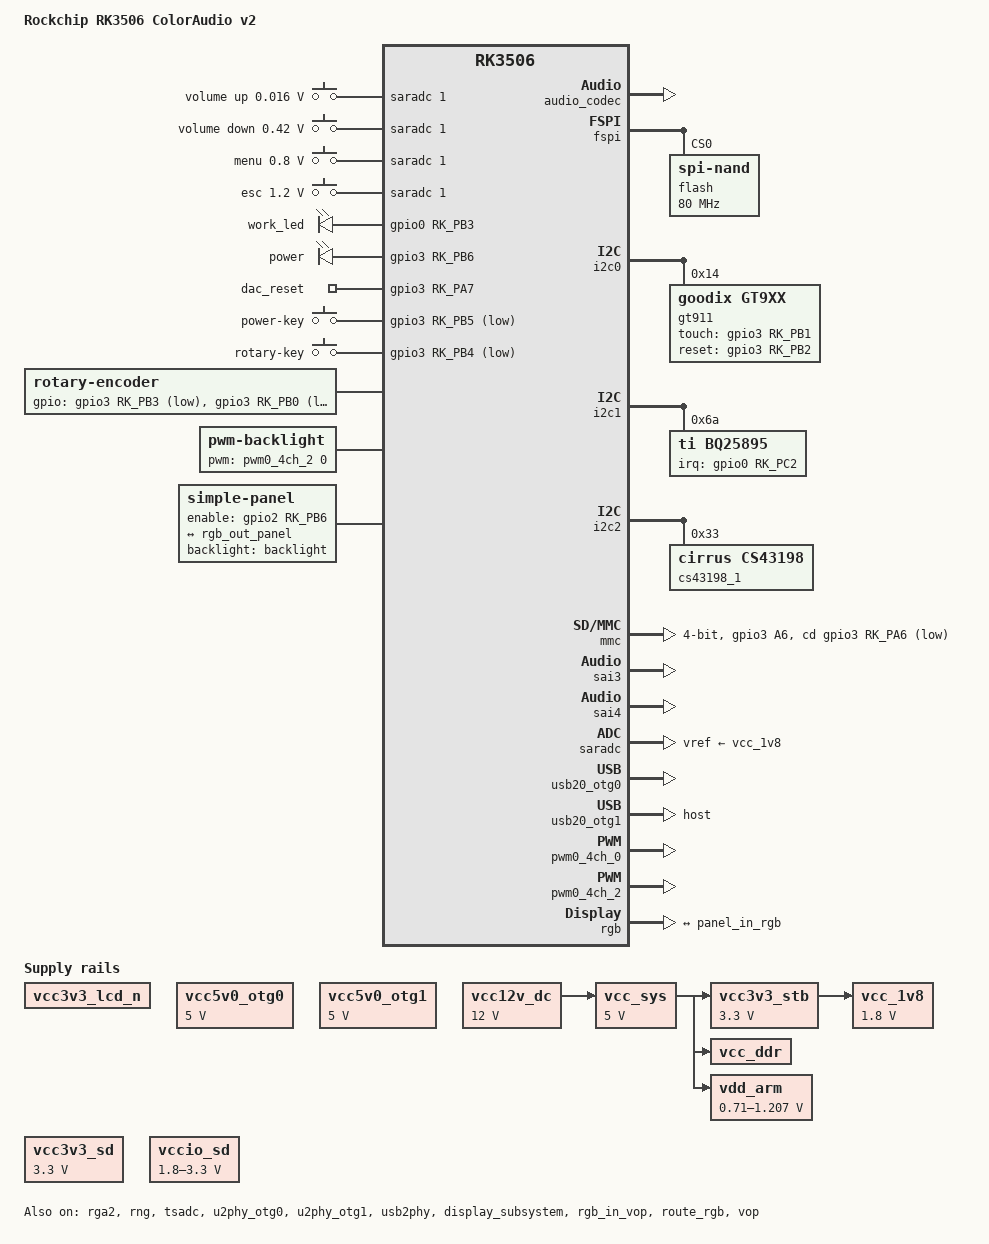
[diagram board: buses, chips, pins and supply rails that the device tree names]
// SPDX-License-Identifier: (GPL-2.0+ OR MIT)
/*
 * Copyright (c) 2024 Rockchip Electronics Co., Ltd.
 */
/dts-v1/;
#include <dt-bindings/display/drm_mipi_dsi.h>
#include <dt-bindings/input/rk-input.h>
#include <dt-bindings/suspend/rockchip-rk3506.h>
#include <dt-bindings/display/media-bus-format.h>
#include "rk3506.dtsi"

/ {	
	model = "Rockchip RK3506 ColorAudio v2";
	compatible = "rockchip,coloraudio-v2", "rockchip,rk3506";

	chosen {
		bootargs = "earlycon=uart8250,mmio32,0xff0a0000 loglevel=8 console=ttyFIQ0 ubi.mtd=5 root=ubi0:rootfs rw rootfstype=ubifs rootwait snd_aloop.index=7 snd_aloop.use_raw_jiffies=1";
	};
	
	vcc3v3_lcd_n: vcc3v3-lcd0-n {
		compatible = "regulator-fixed";
		enable-active-high;
		regulator-name = "vcc3v3_lcd_n";
		regulator-boot-on;
		regulator-state-mem {
			regulator-off-in-suspend;
		};
    };
	
	vcc5v0_otg0: vcc5v0-otg0-regulator {
		compatible = "regulator-fixed";
		regulator-name = "vcc5v0_otg0";
		regulator-min-microvolt = <5000000>;
		regulator-max-microvolt = <5000000>;
		enable-active-high;
    };
	
	vcc5v0_otg1: vcc5v0-otg1-regulator {
		compatible = "regulator-fixed";
		regulator-name = "vcc5v0_otg1";
		regulator-boot-on;
		regulator-always-on;
		regulator-min-microvolt = <5000000>;
		regulator-max-microvolt = <5000000>;
		enable-active-high;
    };

	vcc12v_dc: vcc12v-dc {
		compatible = "regulator-fixed";
		regulator-name = "vcc12v_dc";
		regulator-always-on;
		regulator-boot-on;
		regulator-min-microvolt = <12000000>;
		regulator-max-microvolt = <12000000>;
	};

	vcc_sys: vcc-sys {
		compatible = "regulator-fixed";
		regulator-name = "vcc_sys";
		regulator-always-on;
		regulator-boot-on;
		regulator-min-microvolt = <5000000>;
		regulator-max-microvolt = <5000000>;
		vin-supply = <&vcc12v_dc>;
	};

	vcc3v3_stb: vcc3v3-stb {
		compatible = "regulator-fixed";
		regulator-name = "vcc3v3_stb";
		regulator-always-on;
		regulator-boot-on;
		regulator-min-microvolt = <3300000>;
		regulator-max-microvolt = <3300000>;
		vin-supply = <&vcc_sys>;
	};
	
	vcc3v3_sd: vcc3v3-sd {
		compatible = "regulator-fixed";
		regulator-name = "vcc3v3_sd";
		regulator-min-microvolt = <3300000>;
		regulator-max-microvolt = <3300000>;
	};
		
	vccio_sd: vccio-sd {
		compatible = "regulator-gpio";
		regulator-name = "vccio_sd";
		regulator-min-microvolt = <1800000>;
		regulator-max-microvolt = <3300000>;
		states = <3300000 1
				  1800000 0>;
	};

	vcc_1v8: vcc-1v8 {
		compatible = "regulator-fixed";
		regulator-name = "vcc_1v8";
		regulator-always-on;
		regulator-boot-on;
		regulator-min-microvolt = <1800000>;
		regulator-max-microvolt = <1800000>;
		vin-supply = <&vcc3v3_stb>;
	};

	vcc_ddr: vcc-ddr {
		compatible = "regulator-fixed";
		regulator-name = "vcc_ddr";
		regulator-always-on;
		regulator-boot-on;
		vin-supply = <&vcc_sys>;
	};

	vdd_arm: vdd-arm {
		compatible = "pwm-regulator";
		pwms = <&pwm0_4ch_0 0 5000 1>;
		regulator-name = "vdd_arm";
		regulator-min-microvolt = <710000>;
		regulator-max-microvolt = <1207000>;
		regulator-init-microvolt = <1011000>;
		regulator-always-on;
		regulator-boot-on;
		regulator-settling-time-up-us = <250>;
		pwm-supply = <&vcc_sys>;
	};

	// dummy_codec: dummy-codec {
	// 	status = "okay";
    //     #sound-dai-cells = <0>;
    //     compatible = "rockchip,dummy-codec";
    //     clocks = <&mclkout_sai3>;
	// 	clock-names = "mclk";
    // };

	// dac_sound: dac-sound {
	// 	status = "okay";
	// 	compatible = "simple-audio-card";
	// 	simple-audio-card,name = "cirrus,cs43198";
	// 	simple-audio-card,format = "i2s";
	// 	simple-audio-card,mclk-fs = <512>;
	// 	simple-audio-card,bitclock-master = <&dac_master>;
	// 	simple-audio-card,frame-master = <&dac_master>;
	// 	simple-audio-card,cpu {
	// 		sound-dai = <&sai3>;
	// 	};
	// 	dac_master: simple-audio-card,codec {
	// 	    sound-dai = <&cs43198_1>;
	// 	};
	// };

	sai3_cs43198_sound: sai3-cs43198-sound {
		compatible = "rockchip,multicodecs-card";
		rockchip,card-name = "sai3-cs43198";
		rockchip,format = "i2s";
		rockchip,mclk-fs = <512>;
		rockchip,cpu = <&sai3>;
		rockchip,codec = <&cs43198_1>;
		rockchip,audio-routing =
			"Headphone", "HPOUTA",
			"Headphone", "HPOUTB";
	};

	adc_keys: adc-keys {
		compatible = "adc-keys";
		io-channels = <&saradc 1>;
		io-channel-names = "buttons";
		keyup-threshold-microvolt = <1800000>;
		poll-interval = <100>;

		vol-up-key {
			label = "volume up";
			linux,code = <KEY_VOLUMEUP>;
			press-threshold-microvolt = <16000>;
		};

		vol-down-key {
			label = "volume down";
			linux,code = <KEY_VOLUMEDOWN>;
			press-threshold-microvolt = <420000>;
		};

		menu-key {
			label = "menu";
			linux,code = <KEY_MENU>;
			press-threshold-microvolt = <800000>;
		};

		esc-key {
			label = "esc";
			linux,code = <KEY_ESC>;
			press-threshold-microvolt = <1200000>;
		};
	};

	fiq_debugger: fiq-debugger {
		compatible = "rockchip,fiq-debugger";
		rockchip,serial-id = <0>;
		rockchip,wake-irq = <0>;
		rockchip,irq-mode-enable = <1>;
		rockchip,baudrate = <1500000>;	/* Only 115200 and 1500000 */
		interrupts = <GIC_SPI 115 IRQ_TYPE_LEVEL_HIGH>;
	};
	
	leds: leds {
		status = "okay";
		compatible = "gpio-leds";

		work_led: work-led {
			gpios = <&gpio0 RK_PB3 GPIO_ACTIVE_HIGH>;
			linux,default-trigger = "heartbeat";
			pinctrl-names = "default";
			pinctrl-0 = <&leds_gpio>;
		};
		power: power {
			gpios = <&gpio3 RK_PB6 GPIO_ACTIVE_HIGH>;
			linux,default-trigger = "default-off";
			pinctrl-names = "default";
			pinctrl-0 = <&power_gpio>;
			default-state = "on";
		};
		dac_reset: dac-reset {
			gpios = <&gpio3 RK_PA7 GPIO_ACTIVE_HIGH>;
			linux,default-trigger = "default-off";
			pinctrl-names = "default";
			pinctrl-0 = <&dac_reset_gpio>;
			default-state = "on";
		};
    };
		
	gpio_keys: gpio-keys {
		status = "okay";
		compatible = "gpio-keys";

		power_key: power-key {
			label = "power-key";
			pinctrl-names = "default";
			pinctrl-0 = <&power_key_gpio>;
			gpios = <&gpio3 RK_PB5 GPIO_ACTIVE_LOW>;
			linux,code = <0x01>;
			wakeup-source;
		};
		rotary_key: rotary-key {
			label = "rotary-key";
			pinctrl-names = "default";
			pinctrl-0 = <&rotary_key_gpio>;
			gpios = <&gpio3 RK_PB4 GPIO_ACTIVE_LOW>;
			linux,code = <0x02>;
			wakeup-source;
		};
	};

	rotary: rotary {
		compatible = "rotary-encoder";
		gpios = <&gpio3 RK_PB3 GPIO_ACTIVE_LOW>, <&gpio3 RK_PB0 GPIO_ACTIVE_LOW>;
		linux,axis = <0>;
		rotary-encoder,relative-axis;
		pinctrl-names = "default";
		pinctrl-0 = <&rotary_left_right>;
	};

	sdio_pwrseq: sdio-pwrseq {
		compatible = "mmc-pwrseq-simple";
		pinctrl-names = "default";
	};

	backlight: backlight {
		status = "okay";
		compatible = "pwm-backlight";
		pwms = <&pwm0_4ch_2 0 25000 0>;
		brightness-levels = <
			  0  20  20  21  21  22  22  23
			 23  24  24  25  25  26  26  27
			 27  28  28  29  29  30  30  31
			 31  32  32  33  33  34  34  35
			 35  36  36  37  37  38  38  39
			 40  41  42  43  44  45  46  47
			 48  49  50  51  52  53  54  55
			 56  57  58  59  60  61  62  63
			 64  65  66  67  68  69  70  71
			 72  73  74  75  76  77  78  79
			 80  81  82  83  84  85  86  87
			 88  89  90  91  92  93  94  95
			 96  97  98  99 100 101 102 103
			104 105 106 107 108 109 110 111
			112 113 114 115 116 117 118 119
			120 121 122 123 124 125 126 127
			128 129 130 131 132 133 134 135
			136 137 138 139 140 141 142 143
			144 145 146 147 148 149 150 151
			152 153 154 155 156 157 158 159
			160 161 162 163 164 165 166 167
			168 169 170 171 172 173 174 175
			176 177 178 179 180 181 182 183
			184 185 186 187 188 189 190 191
			192 193 194 195 196 197 198 199
			200 201 202 203 204 205 206 207
			208 209 210 211 212 213 214 215
			216 217 218 219 220 221 222 223
			224 225 226 227 228 229 230 231
			232 233 234 235 236 237 238 239
			240 241 242 243 244 245 246 247
			248 249 250 251 252 253 254 255
		>;
		default-brightness-level = <200>;
	};
	
	panel: panel {
		status = "okay";
		compatible = "simple-panel";
		bus-format = <MEDIA_BUS_FMT_RGB888_1X24>;
		backlight = <&backlight>;
		enable-gpios = <&gpio2 RK_PB6 GPIO_ACTIVE_HIGH>;
		enable-delay-ms = <20>;
		pinctrl-names = "default";
		pinctrl-0 = <&lcd_en_gpio>;
		display-timings {
			native-mode = <&timing0>;
			timing0: timing0 {
				clock-frequency = <25000000>;
				hactive = <800>;
				vactive = <480>;
				hback-porch = <8>;
				hfront-porch = <8>;
				vback-porch = <16>;
				vfront-porch = <16>;
				hsync-len = <4>;
				vsync-len = <4>;
				hsync-active = <0>;
				vsync-active = <0>;
				de-active = <0>;
				pixelclk-active = <0>;
			};
		};

		port {
			panel_in_rgb: endpoint {
				remote-endpoint = <&rgb_out_panel>;
			};
		};
	};
};

&pinctrl {
	lcd {
		lcd_en_gpio: lcd-en-gpio {
			rockchip,pins = <2 RK_PB6 RK_FUNC_GPIO &pcfg_pull_none>;
		};
	};

	sdcard {
		sd_det: sd-det {
			rockchip,pins = <3 RK_PA6 RK_FUNC_GPIO &pcfg_pull_none>;
		};
    };

	led {
		leds_gpio: leds-gpio {
			rockchip,pins = <0 RK_PB3 RK_FUNC_GPIO &pcfg_pull_none>;
		};
		power_gpio: power-gpio {
			rockchip,pins = <3 RK_PB6 RK_FUNC_GPIO &pcfg_pull_none>;
		};
	};

	key {
		power_key_gpio: power-key-gpio {
			rockchip,pins = <3 RK_PB5 RK_FUNC_GPIO &pcfg_pull_none>;
		};
		rotary_key_gpio: rotary-key-gpio {
			rockchip,pins = <3 RK_PB4 RK_FUNC_GPIO &pcfg_pull_none>;
		};
	};

	rotary {
		rotary_left_right: rotary-left-right {
			rockchip,pins = <3 RK_PB3 RK_FUNC_GPIO &pcfg_pull_none>, <3 RK_PB0 RK_FUNC_GPIO &pcfg_pull_none>;
		};
	};
	
	charger {
		charger_gpio: charger-gpio {
			rockchip,pins = <0 RK_PC2 RK_FUNC_GPIO &pcfg_pull_none>;
		};
	};

	dac {
		dac_gpio: dac-gpio {
			rockchip,pins = <0 RK_PB4 RK_FUNC_GPIO &pcfg_pull_none>;
		};
		dac_reset_gpio: dac-reset-gpio {
			rockchip,pins = <3 RK_PA7 RK_FUNC_GPIO &pcfg_pull_up>;
		};
	};

	touch {
		touch_gpio: touch-gpio {
			rockchip,pins = <3 RK_PB1 RK_FUNC_GPIO &pcfg_pull_none>;
		};
		
		reset_gpio: reset-gpio {
			rockchip,pins = <3 RK_PB2 RK_FUNC_GPIO &pcfg_pull_none>;
		};
	};
};

&audio_codec {
	status = "okay";
};

&cma {
	size = <0x1600000>;
};

&cpu0 {
	cpu-supply = <&vdd_arm>;
};

&flexbus_fspi {
	pinctrl-names = "default";
	pinctrl-0 = <&flexbus0m1_pins &flexbus0_clk_pins
		     &flexbus0_d0_pins &flexbus0_d1_pins
		     &flexbus0_d2_pins &flexbus0_d3_pins>;
	status = "disabled";

	flash@0 {
		compatible = "jedec,spi-nor";
		reg = <0>;
		spi-max-frequency = <100000000>;
		spi-rx-bus-width = <4>;
		spi-tx-bus-width = <1>;
	};
};

&fspi {
	status = "okay";

	flash@0 {
		compatible = "spi-nand";
		reg = <0>;
		spi-max-frequency = <80000000>;
		spi-rx-bus-width = <4>;
		spi-tx-bus-width = <1>;
	};
};

&i2c0 {
	status = "okay";
	pinctrl-names = "default";
	pinctrl-0 = <&rm_io15_i2c0_scl
		     &rm_io14_i2c0_sda>;

	gt911@14 {
		compatible = "goodix,gt9xx";
		reg = <0x14>;
		pinctrl-names = "default";
		pinctrl-0 = <&touch_gpio>;
		touch-gpio = <&gpio3 RK_PB1 IRQ_TYPE_LEVEL_LOW>;
		reset-gpio = <&gpio3 RK_PB2 GPIO_ACTIVE_HIGH>;
		max-x = <800>;
		max-y = <480>;
	    tp-size = <9110>;
		status = "okay";
	};
};

&i2c1 {
	status = "okay";
	pinctrl-names = "default";
	pinctrl-0 = <&rm_io19_i2c1_scl
		     &rm_io20_i2c1_sda>;
	
	bq25895: charger@6a {
		compatible = "ti,bq25895", "ti,bq25890";
		reg = <0x6a>;
		pinctrl-names = "default";
		pinctrl-0 = <&charger_gpio>;
		interrupt-parent = <&gpio0>;
		interrupts = <RK_PC2 IRQ_TYPE_EDGE_FALLING>;
		ti,battery-regulation-voltage = <4200000>; /* 4.2V */
		ti,charge-current = <2000000>; /* 2A */
		ti,termination-current = <66000>;  /* 66mA */
		ti,precharge-current = <130000>; /* 130mA */
		ti,minimum-sys-voltage = <3000000>; /* 3V */
		ti,boost-voltage = <5000000>; /* 5V */
		ti,boost-max-current = <1600000>; /* 1600mA */
	};
};

&i2c2 {
	status = "okay";
	pinctrl-names = "default";
	pinctrl-0 = <&rm_io17_i2c2_scl
		     &rm_io16_i2c2_sda>;

	cs43198_1: audio-codec@33 {
		status = "okay";
		#sound-dai-cells = <0>;
		compatible = "cirrus,cs43198";
		reg = <0x33>;
		clocks = <&mclkout_sai3>;
		clock-names = "mclk";
		assigned-clocks = <&mclkout_sai3>;
		assigned-clock-rates = <24576000>;
		pinctrl-names = "default";
		pinctrl-0 = <&sai3_mclk_pins>;
		// pinctrl-0 = <&dac_gpio &sai3_mclk_pins>;
		// interrupt-parent = <&gpio0>;
   		// interrupts = <RK_PB4 IRQ_TYPE_EDGE_FALLING>;
	};

	// cs43198_2: audio-codec@30 {
	// 	compatible = "cirrus,cs43198";
	// 	reg = <0x30>;
	// };
};

&mmc {
	max-frequency = <150000000>;
	supports-sd;
	no-sdio;
	no-mmc;
	bus-width = <4>;
	cap-mmc-highspeed;
	cap-sd-highspeed;
	cd-gpios = <&gpio3 RK_PA6 GPIO_ACTIVE_LOW>;
	disable-wp;
	pinctrl-names = "default";
	pinctrl-0 = <&sdmmc_clk_pins &sdmmc_cmd_pins &sdmmc_bus4_pins &sd_det>;
	status = "okay";
};

&rga2 {
	status = "okay";
};

&rng {
	status = "okay";
};

&rockchip_suspend {
	rockchip,sleep-mode-config = <
		(0
		| RKPM_ARMOFF_DDRPD
		| RKPM_24M_OSC_DIS
		| RKPM_32K_CLK
		| RKPM_32K_SRC_RC
		| RKPM_PWM0_CH0_REGULATOR
		)
	>;

	rockchip,apios-suspend = <
		(0
		| RKPM_PWREN_CORE_GPIO0A2 | RKPM_PWREN_CORE_ACT_LOW
		| RKPM_PWREN_SLEEP_GPIO0A0 | RKPM_PWREN_SLEEP_ACT_LOW
		)
	>;
};

&sai3 {
	status = "okay";
	pinctrl-names = "default";
	pinctrl-0 = <&sai3_lrck_pins
				&sai3_sclk_pins
				&sai3_sdo_pins>;
};

&sai4 {
	status = "okay";
};

&saradc {
	vref-supply = <&vcc_1v8>;
	status = "okay";
};

&tsadc {
	status = "okay";
};

&u2phy_otg0 {
	vbus-supply = <&vcc5v0_otg0>;
	rockchip,vbus-always-on;
	status = "okay";
};

&u2phy_otg1 {
	phy-supply = <&vcc5v0_otg1>;
	status = "okay";
};

&usb2phy {
	status = "okay";
};

&usb20_otg0 {
	status = "okay";
};

&usb20_otg1 {
	dr_mode = "host";
	status = "okay";
};

&display_subsystem {
	logo-memory-region = <&drm_logo>;
	status = "okay";
};

&pwm0_4ch_0 {
	pinctrl-names = "active";
	pinctrl-0 = <&rm_io21_pwm0_ch0>;
	status = "okay";
};

&pwm0_4ch_2 {
	pinctrl-names = "active";
	pinctrl-0 = <&rm_io13_pwm0_ch2>;
	status = "okay";
};

&rgb {
	status = "okay";
	pinctrl-names = "default";
	pinctrl-0 = <&rgb888_pins>;

	ports {
		rgb_out: port@1 {
			reg = <1>;
			#address-cells = <1>;
			#size-cells = <0>;

			rgb_out_panel: endpoint@0 {
				reg = <0>;
				remote-endpoint = <&panel_in_rgb>;
			};
		};
	};
};

&rgb_in_vop {
	status = "okay";
};

&route_rgb {
	status = "okay";
	connect = <&vop_out_rgb>;
};

&vop {
	status = "okay";
};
